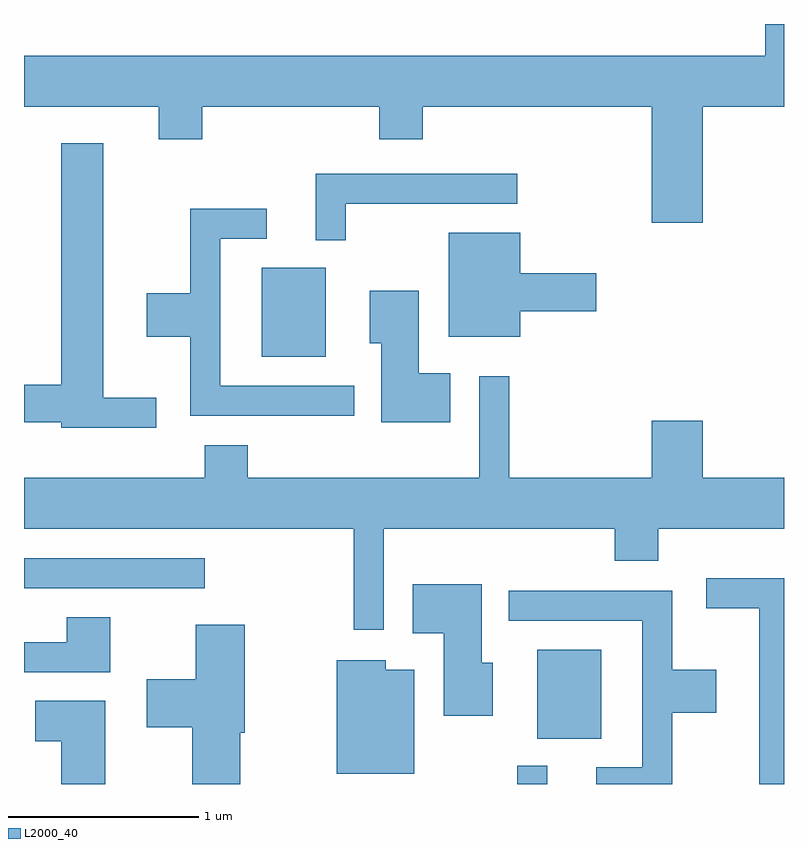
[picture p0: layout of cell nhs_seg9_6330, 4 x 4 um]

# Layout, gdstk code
import gdstk
lib = gdstk.Library(unit=1e-6, precision=1e-09)
def R(c, l, rs):  # rectangles x0, y0, x1, y1
    for r in rs: c.add(gdstk.rectangle(r[:2], r[2:], *l))
def P(c, l, *ps):  # polygons
    for p in ps: c.add(gdstk.Polygon(p, *l))
L2000_40 = (2000, 40)

nhs_seg9_6330 = lib.new_cell('nhs_seg9_6330')
R(nhs_seg9_6330, L2000_40, [(374.206,2030.432,374.364,2030.528), (374.311,2030.671,374.649,2031.139), (371.611,2031.461,372.563,2031.619), (372.861,2032.681,373.199,2033.149)])
P(nhs_seg9_6330, L2000_40, [(375.184,2033.996),(375.611,2033.996),(375.611,2034.432),(375.511,2034.432),(375.511,2034.264),(371.611,2034.264),(371.611,2033.996),(372.321,2033.996),(372.321,2033.826),(372.549,2033.826),(372.549,2033.996),(373.481,2033.996),(373.481,2033.826),(373.709,2033.826),(373.709,2033.996),(374.916,2033.996),(374.916,2033.386),(375.184,2033.386)],
  [(372.308,2032.464),(372.029,2032.464),(372.029,2033.804),(371.806,2033.804),(371.806,2032.534),(371.611,2032.534),(371.611,2032.336),(371.806,2032.336),(371.806,2032.306),(372.308,2032.306)],
  [(373.304,2033.486),(374.208,2033.486),(374.208,2033.644),(373.146,2033.644),(373.146,2033.293),(373.304,2033.293)],
  [(373.348,2032.529),(372.644,2032.529),(372.644,2033.301),(372.888,2033.301),(372.888,2033.459),(372.486,2033.459),(372.486,2033.014),(372.256,2033.014),(372.256,2032.786),(372.486,2032.786),(372.486,2032.371),(373.348,2032.371)],
  [(374.224,2032.921),(374.624,2032.921),(374.624,2033.119),(374.224,2033.119),(374.224,2033.334),(373.846,2033.334),(373.846,2032.786),(374.224,2032.786)],
  [(373.854,2032.594),(373.689,2032.594),(373.689,2033.029),(373.431,2033.029),(373.431,2032.751),(373.491,2032.751),(373.491,2032.336),(373.854,2032.336)],
  [(374.916,2032.044),(374.164,2032.044),(374.164,2032.578),(374.006,2032.578),(374.006,2032.044),(372.789,2032.044),(372.789,2032.214),(372.561,2032.214),(372.561,2032.044),(371.611,2032.044),(371.611,2031.776),(373.346,2031.776),(373.346,2031.243),(373.504,2031.243),(373.504,2031.776),(374.721,2031.776),(374.721,2031.606),(374.949,2031.606),(374.949,2031.776),(375.611,2031.776),(375.611,2032.044),(375.184,2032.044),(375.184,2032.344),(374.916,2032.344)],
  [(375.611,2031.514),(375.203,2031.514),(375.203,2031.356),(375.481,2031.356),(375.481,2030.432),(375.611,2030.432)],
  [(374.079,2031.069),(374.019,2031.069),(374.019,2031.484),(373.656,2031.484),(373.656,2031.226),(373.821,2031.226),(373.821,2030.791),(374.079,2030.791)],
  [(375.024,2030.806),(375.254,2030.806),(375.254,2031.034),(375.024,2031.034),(375.024,2031.449),(374.163,2031.449),(374.163,2031.291),(374.866,2031.291),(374.866,2030.519),(374.623,2030.519),(374.623,2030.432),(375.024,2030.432)],
  [(372.064,2031.309),(371.836,2031.309),(371.836,2031.179),(371.611,2031.179),(371.611,2031.021),(372.064,2031.021)],
  [(372.749,2030.701),(372.774,2030.701),(372.774,2031.269),(372.516,2031.269),(372.516,2030.984),(372.256,2030.984),(372.256,2030.731),(372.496,2030.731),(372.496,2030.432),(372.749,2030.432)],
  [(373.664,2031.034),(373.514,2031.034),(373.514,2031.084),(373.256,2031.084),(373.256,2030.486),(373.664,2030.486)],
  [(372.039,2030.869),(371.671,2030.869),(371.671,2030.656),(371.806,2030.656),(371.806,2030.432),(372.039,2030.432)])

lib.write_gds('nhs_seg9_6330.gds')
